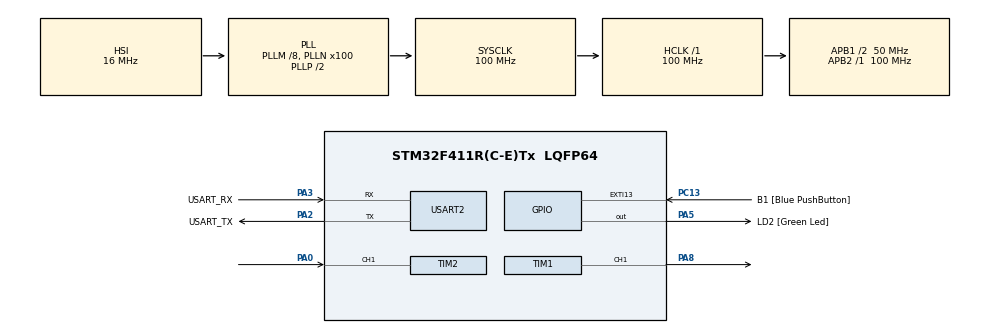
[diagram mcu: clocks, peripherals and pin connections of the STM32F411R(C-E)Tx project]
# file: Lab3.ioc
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Dma.Request0=TIM2_CH1
Dma.TIM2_CH1.0.Direction=DMA_PERIPH_TO_MEMORY
Dma.TIM2_CH1.0.FIFOMode=DMA_FIFOMODE_DISABLE
Dma.TIM2_CH1.0.Instance=DMA1_Stream5
Dma.TIM2_CH1.0.MemDataAlignment=DMA_MDATAALIGN_WORD
Dma.TIM2_CH1.0.MemInc=DMA_MINC_ENABLE
Dma.TIM2_CH1.0.Mode=DMA_CIRCULAR
Dma.TIM2_CH1.0.PeriphDataAlignment=DMA_PDATAALIGN_WORD
Dma.TIM2_CH1.0.PeriphInc=DMA_PINC_DISABLE
Dma.TIM2_CH1.0.Priority=DMA_PRIORITY_LOW
Mcu.Family=STM32F4
Mcu.Name=STM32F411R(C-E)Tx
Mcu.Package=LQFP64
Mcu.UserConstants=QEI_PERIOD,64512
NVIC.DMA1_Stream5_IRQn=true\:0\:0\:false\:false\:true\:false\:true\:true
NVIC.PriorityGroup=NVIC_PRIORITYGROUP_0
PA0-WKUP.Signal=S_TIM2_CH1_ETR
PA13.GPIO_Label=TMS
PA13.Mode=Serial_Wire
PA13.Signal=SYS_JTMS-SWDIO
PA14.GPIO_Label=TCK
PA14.Mode=Serial_Wire
PA14.Signal=SYS_JTCK-SWCLK
PA2.GPIO_Label=USART_TX
PA2.Mode=Asynchronous
PA2.Signal=USART2_TX
PA3.GPIO_Label=USART_RX
PA3.Mode=Asynchronous
PA3.Signal=USART2_RX
PA5.GPIO_Label=LD2 [Green Led]
PA5.Signal=GPIO_Output
PA8.Signal=S_TIM1_CH1
PB3.GPIO_Label=SWO
PB3.Signal=SYS_JTDO-SWO
PC13-ANTI_TAMP.GPIO_Label=B1 [Blue PushButton]
PC13-ANTI_TAMP.GPIO_ModeDefaultEXTI=GPIO_MODE_IT_FALLING
PC13-ANTI_TAMP.Signal=GPXTI13
PC14-OSC32_IN.Mode=LSE-External-Oscillator
PC14-OSC32_IN.Signal=RCC_OSC32_IN
PC15-OSC32_OUT.Mode=LSE-External-Oscillator
PC15-OSC32_OUT.Signal=RCC_OSC32_OUT
PH0\ -\ OSC_IN.Mode=HSE-External-Clock-Source
PH0\ -\ OSC_IN.Signal=RCC_OSC_IN
PH1\ -\ OSC_OUT.Mode=HSE-External-Clock-Source
PH1\ -\ OSC_OUT.Signal=RCC_OSC_OUT
ProjectManager.HeapSize=0x200
ProjectManager.StackSize=0x400
ProjectManager.TargetToolchain=STM32CubeIDE
RCC.48MHZClocksFreq_Value=50000000
RCC.AHBFreq_Value=100000000
RCC.APB1CLKDivider=RCC_HCLK_DIV2
RCC.APB1Freq_Value=50000000
RCC.APB1TimFreq_Value=100000000
RCC.APB2Freq_Value=100000000
RCC.APB2TimFreq_Value=100000000
RCC.CortexFreq_Value=100000000
RCC.FLatency-AdvancedSettings=FLASH_LATENCY_3
RCC.HCLKFreq_Value=100000000
RCC.HSE_VALUE=8000000
RCC.HSI_VALUE=16000000
RCC.PLLM=8
RCC.PLLN=100
RCC.SYSCLKFreq_VALUE=100000000
RCC.SYSCLKSource=RCC_SYSCLKSOURCE_PLLCLK
RCC.VCOOutputFreq_Value=200000000
SH.S_TIM1_CH1.0=TIM1_CH1,PWM Generation1 CH1
SH.S_TIM2_CH1_ETR.0=TIM2_CH1,Input_Capture1_from_TI1
TIM1.Channel-PWM\ Generation1\ CH1=TIM_CHANNEL_1
TIM1.Period=100
TIM1.Prescaler=99
TIM1.Pulse-PWM\ Generation1\ CH1=50
TIM2.Channel-Input_Capture1_from_TI1=TIM_CHANNEL_1
TIM2.Prescaler=99
USART2.VirtualMode=VM_ASYNC
VP_TIM1_VS_ClockSourceINT.Mode=Internal
VP_TIM2_VS_ClockSourceINT.Mode=Internal
board=NUCLEO-F411RE

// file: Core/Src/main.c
/* USER CODE BEGIN Header */
/**
  ******************************************************************************
  * @file           : main.c
  * @brief          : Main program body
  ******************************************************************************
  * @attention
  *
  * Copyright (c) 2023 STMicroelectronics.
  * All rights reserved.
  *
  * This software is licensed under terms that can be found in the LICENSE file
  * in the root directory of this software component.
  * If no LICENSE file comes with this software, it is provided AS-IS.
  *
  ******************************************************************************
  */
/* USER CODE END Header */
#include "main.h"

/* USER CODE BEGIN Includes */
#define IC_BUFFER_SIZE 20
//Chawisa
/* USER CODE END Includes */

TIM_HandleTypeDef htim1;
TIM_HandleTypeDef htim2;
DMA_HandleTypeDef hdma_tim2_ch1;

UART_HandleTypeDef huart2;

/* USER CODE BEGIN PV */
uint32_t MotorSetDuty = 50;
uint32_t InputCaptureBuffer[IC_BUFFER_SIZE];
float averageRisingedgePeriod;

/* USER CODE END PV */

void SystemClock_Config(void);
static void MX_GPIO_Init(void);
static void MX_DMA_Init(void);
static void MX_USART2_UART_Init(void);
static void MX_TIM1_Init(void);
static void MX_TIM2_Init(void);
/* USER CODE BEGIN PFP */
float IC_Calc_Period();

/* USER CODE END PFP */

/* USER CODE BEGIN 0 */
void HztoRPM();
int set = 0;
float freq = 0;
float rpm = 0;
float MotorSetRPM = 0;
int Vmax = 100 ;
float MotorReadRPM = 0;
float e =0;
int error =0;
float Kp = 60;
float u =0;
int Duty =50;

/* USER CODE END 0 */

int main(void)
{

  /* MCU Configuration--------------------------------------------------------*/

  /* Reset of all peripherals, Initializes the Flash interface and the Systick. */
  HAL_Init();

  /* Configure the system clock */
  SystemClock_Config();

  /* Initialize all configured peripherals */
  MX_GPIO_Init();
  MX_DMA_Init();
  MX_USART2_UART_Init();
  MX_TIM1_Init();
  MX_TIM2_Init();
  /* USER CODE BEGIN 2 */
  HAL_TIM_Base_Start(&htim1);
  HAL_TIM_PWM_Start(&htim1, TIM_CHANNEL_1);

  HAL_TIM_Base_Start(&htim2);
  HAL_TIM_IC_Start_DMA(&htim2, TIM_CHANNEL_1, InputCaptureBuffer, IC_BUFFER_SIZE);
  /* USER CODE END 2 */

  /* Infinite loop */
  while (1)
  {

    /* USER CODE BEGIN 3 */
	  static uint32_t timestamp = 0;
	  if(HAL_GetTick()>timestamp)
	  {
		  timestamp = HAL_GetTick()+500;
		  averageRisingedgePeriod = IC_Calc_Period();
		  HztoRpm();

		  if (set ==0)
		  {
			  __HAL_TIM_SET_COMPARE(&htim1,TIM_CHANNEL_1,MotorSetDuty);
		  }
		  else if (set ==1)
		  {
			  __HAL_TIM_SET_COMPARE(&htim1,TIM_CHANNEL_1,Duty);
			  ControlMotor();
		  }

		  //IC_Calc_Period();

	  }
  }
  /* USER CODE END 3 */
}

void SystemClock_Config(void)
{
  RCC_OscInitTypeDef RCC_OscInitStruct = {0};
  RCC_ClkInitTypeDef RCC_ClkInitStruct = {0};

  /** Configure the main internal regulator output voltage
  */
  __HAL_RCC_PWR_CLK_ENABLE();
  __HAL_PWR_VOLTAGESCALING_CONFIG(PWR_REGULATOR_VOLTAGE_SCALE1);

  /** Initializes the RCC Oscillators according to the specified parameters
  * in the RCC_OscInitTypeDef structure.
  */
  RCC_OscInitStruct.OscillatorType = RCC_OSCILLATORTYPE_HSI;
  RCC_OscInitStruct.HSIState = RCC_HSI_ON;
  RCC_OscInitStruct.HSICalibrationValue = RCC_HSICALIBRATION_DEFAULT;
  RCC_OscInitStruct.PLL.PLLState = RCC_PLL_ON;
  RCC_OscInitStruct.PLL.PLLSource = RCC_PLLSOURCE_HSI;
  RCC_OscInitStruct.PLL.PLLM = 8;
  RCC_OscInitStruct.PLL.PLLN = 100;
  RCC_OscInitStruct.PLL.PLLP = RCC_PLLP_DIV2;
  RCC_OscInitStruct.PLL.PLLQ = 4;
  if (HAL_RCC_OscConfig(&RCC_OscInitStruct) != HAL_OK)
  {
    Error_Handler();
  }

  /** Initializes the CPU, AHB and APB buses clocks
  */
  RCC_ClkInitStruct.ClockType = RCC_CLOCKTYPE_HCLK|RCC_CLOCKTYPE_SYSCLK
                              |RCC_CLOCKTYPE_PCLK1|RCC_CLOCKTYPE_PCLK2;
  RCC_ClkInitStruct.SYSCLKSource = RCC_SYSCLKSOURCE_PLLCLK;
  RCC_ClkInitStruct.AHBCLKDivider = RCC_SYSCLK_DIV1;
  RCC_ClkInitStruct.APB1CLKDivider = RCC_HCLK_DIV2;
  RCC_ClkInitStruct.APB2CLKDivider = RCC_HCLK_DIV1;

  if (HAL_RCC_ClockConfig(&RCC_ClkInitStruct, FLASH_LATENCY_3) != HAL_OK)
  {
    Error_Handler();
  }
}

static void MX_TIM1_Init(void)
{

  TIM_ClockConfigTypeDef sClockSourceConfig = {0};
  TIM_MasterConfigTypeDef sMasterConfig = {0};
  TIM_OC_InitTypeDef sConfigOC = {0};
  TIM_BreakDeadTimeConfigTypeDef sBreakDeadTimeConfig = {0};

  htim1.Instance = TIM1;
  htim1.Init.Prescaler = 99;
  htim1.Init.CounterMode = TIM_COUNTERMODE_UP;
  htim1.Init.Period = 100;
  htim1.Init.ClockDivision = TIM_CLOCKDIVISION_DIV1;
  htim1.Init.RepetitionCounter = 0;
  htim1.Init.AutoReloadPreload = TIM_AUTORELOAD_PRELOAD_DISABLE;
  if (HAL_TIM_Base_Init(&htim1) != HAL_OK)
  {
    Error_Handler();
  }
  sClockSourceConfig.ClockSource = TIM_CLOCKSOURCE_INTERNAL;
  if (HAL_TIM_ConfigClockSource(&htim1, &sClockSourceConfig) != HAL_OK)
  {
    Error_Handler();
  }
  if (HAL_TIM_PWM_Init(&htim1) != HAL_OK)
  {
    Error_Handler();
  }
  sMasterConfig.MasterOutputTrigger = TIM_TRGO_RESET;
  sMasterConfig.MasterSlaveMode = TIM_MASTERSLAVEMODE_DISABLE;
  if (HAL_TIMEx_MasterConfigSynchronization(&htim1, &sMasterConfig) != HAL_OK)
  {
    Error_Handler();
  }
  sConfigOC.OCMode = TIM_OCMODE_PWM1;
  sConfigOC.Pulse = 50;
  sConfigOC.OCPolarity = TIM_OCPOLARITY_HIGH;
  sConfigOC.OCNPolarity = TIM_OCNPOLARITY_HIGH;
  sConfigOC.OCFastMode = TIM_OCFAST_DISABLE;
  sConfigOC.OCIdleState = TIM_OCIDLESTATE_RESET;
  sConfigOC.OCNIdleState = TIM_OCNIDLESTATE_RESET;
  if (HAL_TIM_PWM_ConfigChannel(&htim1, &sConfigOC, TIM_CHANNEL_1) != HAL_OK)
  {
    Error_Handler();
  }
  sBreakDeadTimeConfig.OffStateRunMode = TIM_OSSR_DISABLE;
  sBreakDeadTimeConfig.OffStateIDLEMode = TIM_OSSI_DISABLE;
  sBreakDeadTimeConfig.LockLevel = TIM_LOCKLEVEL_OFF;
  sBreakDeadTimeConfig.DeadTime = 0;
  sBreakDeadTimeConfig.BreakState = TIM_BREAK_DISABLE;
  sBreakDeadTimeConfig.BreakPolarity = TIM_BREAKPOLARITY_HIGH;
  sBreakDeadTimeConfig.AutomaticOutput = TIM_AUTOMATICOUTPUT_DISABLE;
  if (HAL_TIMEx_ConfigBreakDeadTime(&htim1, &sBreakDeadTimeConfig) != HAL_OK)
  {
    Error_Handler();
  }
  HAL_TIM_MspPostInit(&htim1);

}

static void MX_TIM2_Init(void)
{

  TIM_ClockConfigTypeDef sClockSourceConfig = {0};
  TIM_MasterConfigTypeDef sMasterConfig = {0};
  TIM_IC_InitTypeDef sConfigIC = {0};

  htim2.Instance = TIM2;
  htim2.Init.Prescaler = 99;
  htim2.Init.CounterMode = TIM_COUNTERMODE_UP;
  htim2.Init.Period = 4294967295;
  htim2.Init.ClockDivision = TIM_CLOCKDIVISION_DIV1;
  htim2.Init.AutoReloadPreload = TIM_AUTORELOAD_PRELOAD_DISABLE;
  if (HAL_TIM_Base_Init(&htim2) != HAL_OK)
  {
    Error_Handler();
  }
  sClockSourceConfig.ClockSource = TIM_CLOCKSOURCE_INTERNAL;
  if (HAL_TIM_ConfigClockSource(&htim2, &sClockSourceConfig) != HAL_OK)
  {
    Error_Handler();
  }
  if (HAL_TIM_IC_Init(&htim2) != HAL_OK)
  {
    Error_Handler();
  }
  sMasterConfig.MasterOutputTrigger = TIM_TRGO_RESET;
  sMasterConfig.MasterSlaveMode = TIM_MASTERSLAVEMODE_DISABLE;
  if (HAL_TIMEx_MasterConfigSynchronization(&htim2, &sMasterConfig) != HAL_OK)
  {
    Error_Handler();
  }
  sConfigIC.ICPolarity = TIM_INPUTCHANNELPOLARITY_RISING;
  sConfigIC.ICSelection = TIM_ICSELECTION_DIRECTTI;
  sConfigIC.ICPrescaler = TIM_ICPSC_DIV1;
  sConfigIC.ICFilter = 0;
  if (HAL_TIM_IC_ConfigChannel(&htim2, &sConfigIC, TIM_CHANNEL_1) != HAL_OK)
  {
    Error_Handler();
  }

}

static void MX_USART2_UART_Init(void)
{

  huart2.Instance = USART2;
  huart2.Init.BaudRate = 115200;
  huart2.Init.WordLength = UART_WORDLENGTH_8B;
  huart2.Init.StopBits = UART_STOPBITS_1;
  huart2.Init.Parity = UART_PARITY_NONE;
  huart2.Init.Mode = UART_MODE_TX_RX;
  huart2.Init.HwFlowCtl = UART_HWCONTROL_NONE;
  huart2.Init.OverSampling = UART_OVERSAMPLING_16;
  if (HAL_UART_Init(&huart2) != HAL_OK)
  {
    Error_Handler();
  }

}

static void MX_DMA_Init(void)
{

  /* DMA controller clock enable */
  __HAL_RCC_DMA1_CLK_ENABLE();

  /* DMA interrupt init */
  /* DMA1_Stream5_IRQn interrupt configuration */
  HAL_NVIC_SetPriority(DMA1_Stream5_IRQn, 0, 0);
  HAL_NVIC_EnableIRQ(DMA1_Stream5_IRQn);

}

static void MX_GPIO_Init(void)
{
  GPIO_InitTypeDef GPIO_InitStruct = {0};

  /* GPIO Ports Clock Enable */
  __HAL_RCC_GPIOC_CLK_ENABLE();
  __HAL_RCC_GPIOH_CLK_ENABLE();
  __HAL_RCC_GPIOA_CLK_ENABLE();
  __HAL_RCC_GPIOB_CLK_ENABLE();

  /*Configure GPIO pin Output Level */
  HAL_GPIO_WritePin(LD2_GPIO_Port, LD2_Pin, GPIO_PIN_RESET);

  /*Configure GPIO pin : B1_Pin */
  GPIO_InitStruct.Pin = B1_Pin;
  GPIO_InitStruct.Mode = GPIO_MODE_IT_FALLING;
  GPIO_InitStruct.Pull = GPIO_NOPULL;
  HAL_GPIO_Init(B1_GPIO_Port, &GPIO_InitStruct);

  /*Configure GPIO pin : LD2_Pin */
  GPIO_InitStruct.Pin = LD2_Pin;
  GPIO_InitStruct.Mode = GPIO_MODE_OUTPUT_PP;
  GPIO_InitStruct.Pull = GPIO_NOPULL;
  GPIO_InitStruct.Speed = GPIO_SPEED_FREQ_LOW;
  HAL_GPIO_Init(LD2_GPIO_Port, &GPIO_InitStruct);

}

/* USER CODE BEGIN 4 */
float IC_Calc_Period()
{
	uint32_t currentDMAPointer = IC_BUFFER_SIZE - __HAL_DMA_GET_COUNTER((htim2.hdma[1]));
	uint32_t lastVaildDMAPointer = (currentDMAPointer-1 + IC_BUFFER_SIZE)%IC_BUFFER_SIZE;
	uint32_t i = (lastVaildDMAPointer + IC_BUFFER_SIZE-10)% IC_BUFFER_SIZE;

	uint32_t sumdiff = 0;
	while (i != lastVaildDMAPointer)
	{
		uint32_t firstCapture = InputCaptureBuffer[i];
		uint32_t NextCapture = InputCaptureBuffer[(i+1)%IC_BUFFER_SIZE];
		sumdiff += NextCapture -firstCapture;
		i = (i+1)%IC_BUFFER_SIZE;
	}
	return sumdiff/10 ;
}

void HztoRpm()
{
	freq = 1/(averageRisingedgePeriod*0.000001*12) ;
	rpm = freq*60 ;
	MotorReadRPM = rpm/64;
}
void ControlMotor()
{
//	e = MotorSetRPM - MotorReadRPM ;
//	//more RPM
//	if (e <= 0){
//		e = e*-1 ;
//		u = abs((e*Kp)-100);
//		Duty = (u*100)/Vmax	;
//	}
//	// less RPM
//	else {
//		u = e*Kp;
//		Duty = (u*100)/Vmax	;
//	}
//
//	if(Duty >= 100)
//	{
//		Duty = 100;
//	}
//	else if (Duty <= 0)
//	{
//		Duty = 0;
//	}

//	error_integral += error * 0.1;
//
//	Duty = 100 + Kp * error;

	error = MotorSetRPM - MotorReadRPM ;
	if(error <= 5 && error >= 0)
	{
		Duty+=1;
		if(Duty >= 100)
		{
			Duty = 100;
		}
		else if (Duty <= 0)
		{
			Duty = 0;
		}
	}
	else if (error <=10 && error >= 6 )
	{
		Duty += 5;
		if(Duty >= 100)
		{
			Duty = 100;
		}
		else if (Duty <= 0)
		{
			Duty = 0;
		}
	}
	else if (error <= 20 && error >= 11)
	{
		Duty+=10;
		if(Duty >= 100)
		{
			Duty = 100;
		}
		else if (Duty <= 0)
		{
			Duty = 0;
		}
	}
	else if(error >= -5 && error <= 0)
	{
		Duty-=1;
		if(Duty >= 100)
		{
			Duty = 100;
		}
		else if (Duty <= 0)
		{
			Duty = 0;
		}
	}
	else if (error >=-10 && error <= -4 )
	{
		Duty -= 5;
		if(Duty >= 100)
		{
			Duty = 100;
		}
		else if (Duty <= 0)
		{
			Duty = 0;
		}
	}
	else if (error >= -20 && error <= -9)
	{
		Duty-=10;
		if(Duty >= 100)
		{
			Duty = 100;
		}
		else if (Duty <= 0)
		{
			Duty = 0;
		}
	}
//	__HAL_TIM_SET_COMPARE(&htim1,TIM_CHANNEL_1,Duty);

}

/* USER CODE END 4 */

void Error_Handler(void)
{
  __disable_irq();
  while (1)
  {
  }
}
